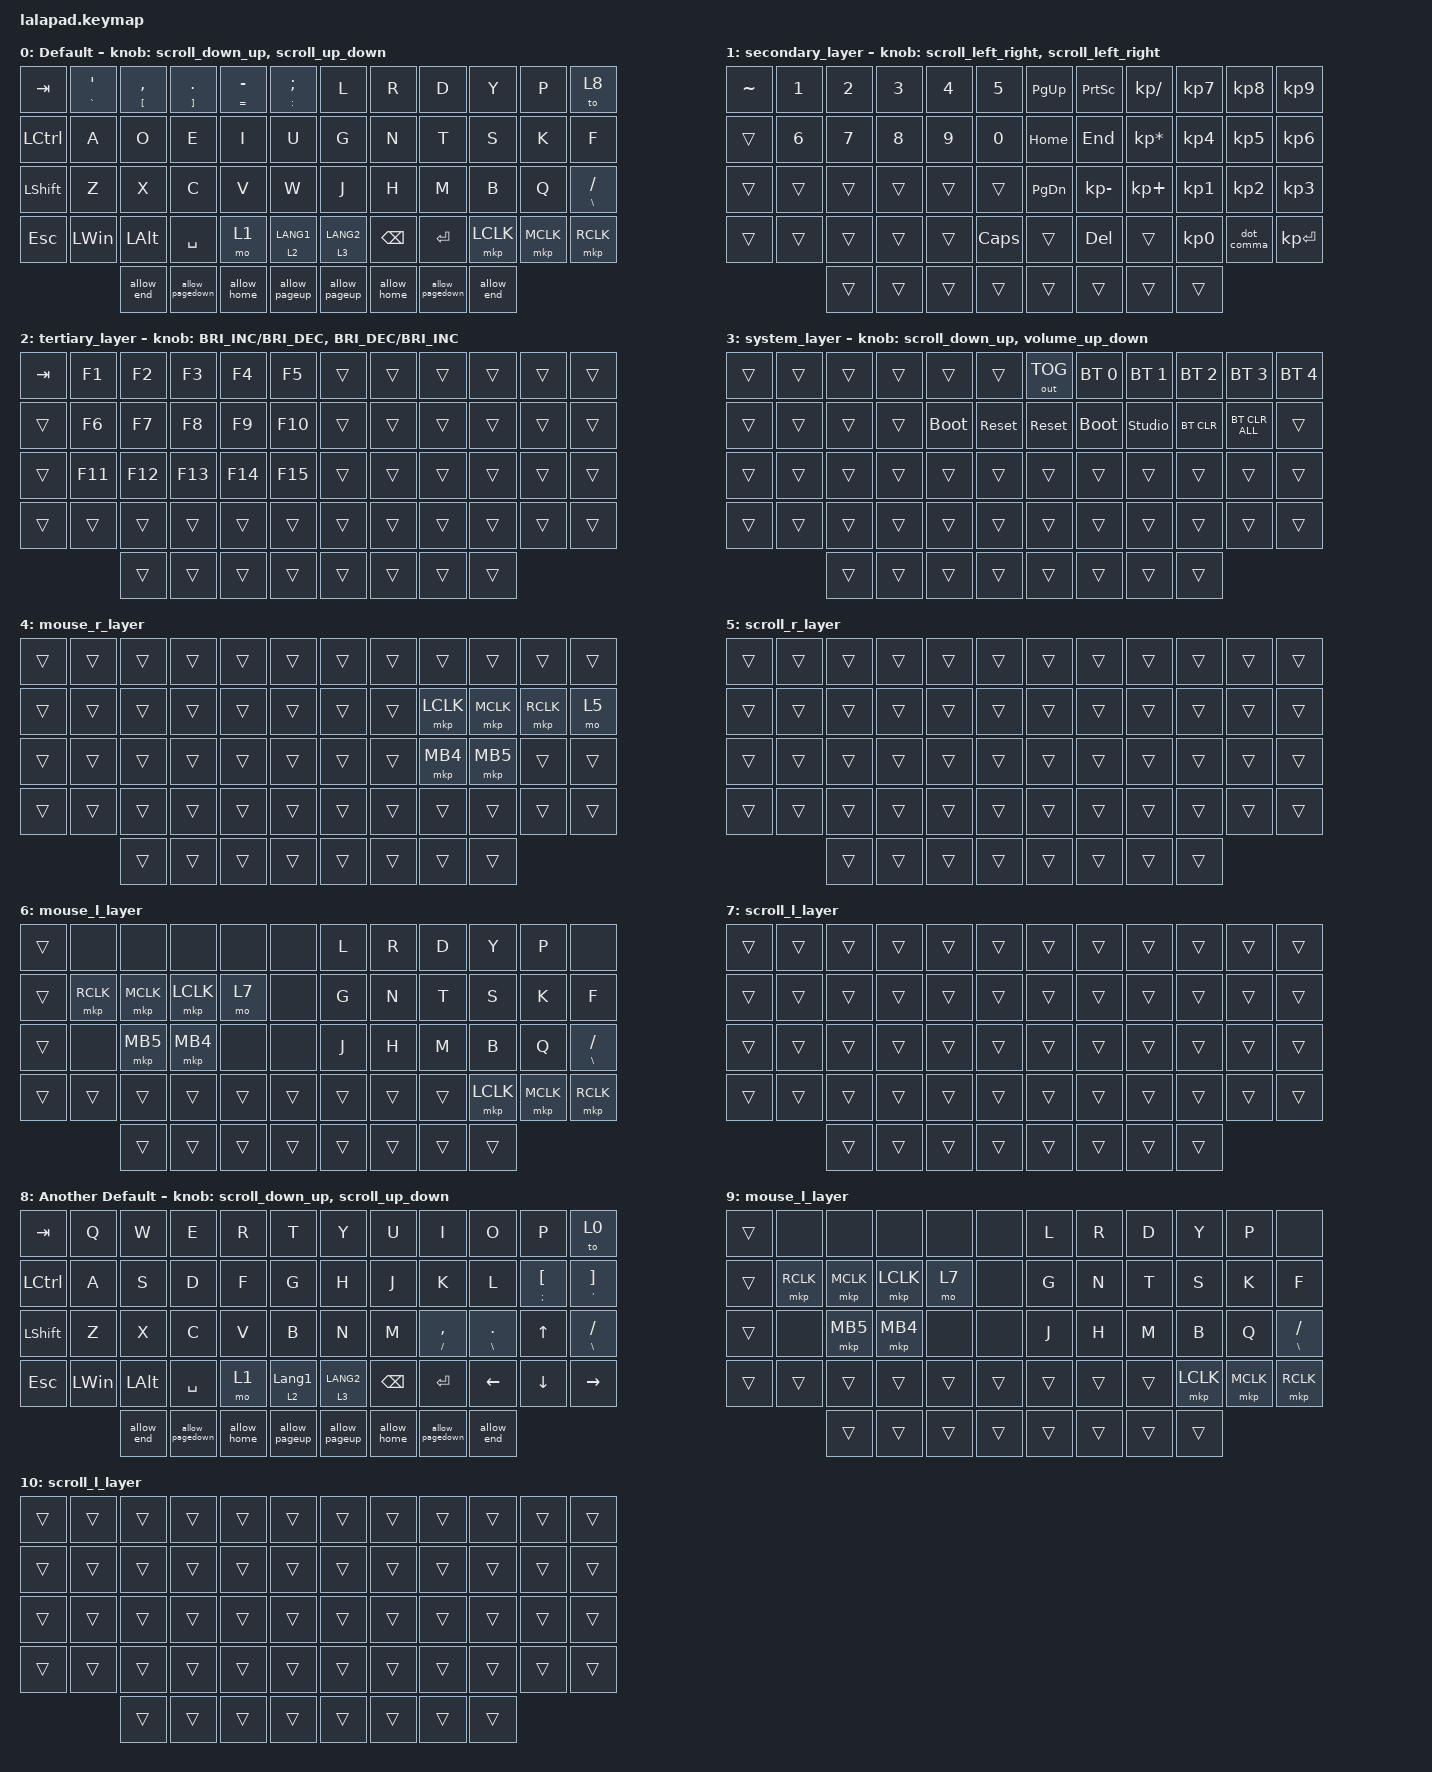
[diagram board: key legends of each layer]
#include <input/processors.dtsi>
#include <behaviors.dtsi>
#include <dt-bindings/zmk/bt.h>
#include <dt-bindings/zmk/keys.h>
#include <dt-bindings/zmk/outputs.h>
#include <dt-bindings/zmk/pointing.h>

#define DEFAULT_LAYER   0
#define SECONDARY_LAYER 1
#define TERTIARY_LAYER  2
#define SYSTEM_LAYER    3
#define MOUSE_R_LAYER   4
#define SCROLL_R_LAYER  5
#define MOUSE_L_LAYER   6
#define SCROLL_L_LAYER  7

// Mouse Scroll Value

#define ZMK_POINTING_DEFAULT_SCRL_VAL 100

// cirque trackpad input&layer control

&glidepoint_listener_R {
    tomisuke_mode_r {
        layers = <DEFAULT_LAYER>;
        input-processors =
            <&zip_xy_transform (INPUT_TRANSFORM_XY_SWAP | INPUT_TRANSFORM_X_INVERT | INPUT_TRANSFORM_Y_INVERT)>,
            <&zip_xy_scaler 3 2>,
            <&zip_temp_layer MOUSE_R_LAYER 500>;
    };

    qwerty_mode_r {
        layers = <8>; /* QWERTY_LAYER */
        input-processors =
            <&zip_xy_transform (INPUT_TRANSFORM_XY_SWAP | INPUT_TRANSFORM_X_INVERT | INPUT_TRANSFORM_Y_INVERT)>,
            <&zip_xy_scaler 3 2>,
            <&zip_temp_layer 9 500>;
 /* MOUSE_LQ */
    };

    lowspeedmode {
        layers = <SECONDARY_LAYER>;
        input-processors =
            <&zip_xy_transform (INPUT_TRANSFORM_XY_SWAP | INPUT_TRANSFORM_X_INVERT | INPUT_TRANSFORM_Y_INVERT)>,
            <&zip_xy_scaler 3 5>,
            <&zip_temp_layer MOUSE_R_LAYER 500>;
    };

    scroller {
        layers = <SCROLL_R_LAYER>;
        input-processors =
            <&zip_xy_to_scroll_mapper>,
            <&zip_scroll_transform (INPUT_TRANSFORM_XY_SWAP | INPUT_TRANSFORM_Y_INVERT)>,
            <&zip_scroll_scaler 1 8>;
    };
};

&glidepoint_listener_L {
    tomisuke_mode_l {
        layers = <DEFAULT_LAYER>;
        input-processors =
            <&zip_xy_transform (INPUT_TRANSFORM_XY_SWAP | INPUT_TRANSFORM_X_INVERT | INPUT_TRANSFORM_Y_INVERT)>,
            <&zip_xy_scaler 3 2>,
            <&zip_temp_layer MOUSE_L_LAYER 500>;
    };

    qwerty_mode_l {
        layers = <8>; /* QWERTY_LAYER */
        input-processors =
            <&zip_xy_transform (INPUT_TRANSFORM_XY_SWAP | INPUT_TRANSFORM_X_INVERT | INPUT_TRANSFORM_Y_INVERT)>,
            <&zip_xy_scaler 3 2>,
            <&zip_temp_layer 9 500>;
 /* MOUSE_LQ */
    };

    lowspeedmode {
        layers = <SECONDARY_LAYER>;
        input-processors =
            <&zip_xy_transform (INPUT_TRANSFORM_XY_SWAP | INPUT_TRANSFORM_X_INVERT | INPUT_TRANSFORM_Y_INVERT)>,
            <&zip_xy_scaler 3 4>,
            <&zip_temp_layer MOUSE_L_LAYER 500>;
    };

    scroller {
        layers = <SCROLL_L_LAYER>;
        input-processors =
            <&zip_xy_to_scroll_mapper>,
            <&zip_scroll_transform (INPUT_TRANSFORM_XY_SWAP | INPUT_TRANSFORM_Y_INVERT)>,
            <&zip_scroll_scaler 1 6>;
    };
};

/ {
    behaviors {
        // Encoder to Mouse Scroll

        scroll_up_down: sensor_scroll_up_down {
            compatible = "zmk,behavior-sensor-rotate";
            #sensor-binding-cells = <0>;
            bindings = <&msc SCRL_UP>, <&msc SCRL_DOWN>;

            tap-ms = <20>;
            label = "SCROLL_UP_DOWN";
        };

        scroll_down_up: sensor_scroll_down_up {
            compatible = "zmk,behavior-sensor-rotate";
            #sensor-binding-cells = <0>;
            bindings = <&msc SCRL_DOWN>, <&msc SCRL_UP>;

            tap-ms = <20>;
            label = "SCROLL_DOWN_UP";
        };

        scroll_left_right: sensor_scroll_left_right {
            compatible = "zmk,behavior-sensor-rotate";
            #sensor-binding-cells = <0>;
            bindings = <&msc SCRL_LEFT>, <&msc SCRL_RIGHT>;

            tap-ms = <20>;
            label = "SCROLL_LEFT_RIGHT";
        };

        scroll_right_left: sensor_scroll_right_left {
            compatible = "zmk,behavior-sensor-rotate";
            #sensor-binding-cells = <0>;
            bindings = <&msc SCRL_RIGHT>, <&msc SCRL_LEFT>;

            tap-ms = <20>;
            label = "SCROLL_RIGHT_LEFT";
        };

        volume_up_down: sensor_volume_up_down {
            compatible = "zmk,behavior-sensor-rotate";
            #sensor-binding-cells = <0>;
            bindings = <&kp C_VOLUME_UP>, <&kp C_VOLUME_DOWN>;

            tap-ms = <20>;
            label = "VOLUME_UP_DOWN";
        };

        dot_comma: dot_comma {
            compatible = "zmk,behavior-mod-morph";
            #binding-cells = <0>;
            bindings = <&kp KP_DOT>, <&kp COMMA>;

            mods = <(MOD_LSFT|MOD_RSFT)>;
            label = "DOT_COMMA";
        };

        pls_minus: pls_minus {
            compatible = "zmk,behavior-mod-morph";
            #binding-cells = <0>;
            bindings = <&kp PLUS>, <&kp MINUS>;

            mods = <(MOD_LSFT|MOD_RSFT)>;
            label = "PLS_MINUS";
        };

        allow_pageup: allow_pageup {
            compatible = "zmk,behavior-mod-morph";
            #binding-cells = <0>;
            bindings = <&kp UP>, <&kp PAGE_UP>;

            mods = <(MOD_LCTL|MOD_RCTL)>;
            label = "ALLOW_PAGEUP";
        };

        allow_pagedown: allow_pagedown {
            compatible = "zmk,behavior-mod-morph";
            #binding-cells = <0>;
            bindings = <&kp DOWN>, <&kp PAGE_DOWN>;

            mods = <(MOD_LCTL|MOD_RCTL)>;
            label = "ALLOW_PAGEDOWN";
        };

        allow_home: allow_home {
            compatible = "zmk,behavior-mod-morph";
            #binding-cells = <0>;
            bindings = <&kp LEFT>, <&kp HOME>;

            mods = <(MOD_LCTL|MOD_RCTL)>;
            label = "ALLOW_HOME";
        };

        allow_end: allow_end {
            compatible = "zmk,behavior-mod-morph";
            #binding-cells = <0>;
            bindings = <&kp RIGHT>, <&kp END>;

            mods = <(MOD_LCTL|MOD_RCTL)>;
            label = "ALLOW_END";
        };

        mt2: mod_tap2 {
            compatible = "zmk,behavior-hold-tap";
            #binding-cells = <2>;
            flavor = "tap-preferred";
            tapping-term-ms = <200>;
            quick-tap-ms = <200>;
            require-prior-idle-ms = <125>;
            bindings = <&kp>, <&kp>;
        };
    };

    keymap {
        compatible = "zmk,keymap";

        TOMISUKE_LAYER {
            display-name = "Default";
            sensor-bindings = <&scroll_down_up>, <&scroll_up_down>;

            bindings = <
&kp TAB    &mt2 GRAVE SQT  &mt2 LBKT COMMA  &mt2 RBKT PERIOD  &mt2 EQUAL MINUS  &mt2 COLON SEMICOLON  &kp L          &kp R          &kp D            &kp Y       &kp P      &to 8
&kp LCTRL  &kp A           &kp O            &kp E             &kp I             &kp U                 &kp G          &kp N          &kp T            &kp S       &kp K      &kp F
&kp LSHFT  &kp Z           &kp X            &kp C             &kp V             &kp W                 &kp J          &kp H          &kp M            &kp B       &kp Q      &mt2 BSLH SLASH
&kp ESC    &kp LEFT_WIN    &kp LEFT_ALT     &kp SPACE         &mo 1             &lt 2 LANG1           &lt 3 LANG2    &kp BACKSPACE  &kp RET          &mkp LCLK   &mkp MCLK  &mkp RCLK
                           &allow_end       &allow_pagedown   &allow_home       &allow_pageup         &allow_pageup  &allow_home    &allow_pagedown  &allow_end
            >;
        };

        SECONDARY_LAYER {
            display-name = "secondary_layer";
            sensor-bindings = <&scroll_left_right>, <&scroll_left_right>;

            bindings = <
&kp TILDE  &kp NUMBER_1  &kp NUMBER_2  &kp NUMBER_3  &kp NUMBER_4  &kp NUMBER_5  &kp PAGE_UP    &kp PRINTSCREEN  &kp KP_SLASH     &kp KP_NUMBER_7  &kp KP_NUMBER_8  &kp KP_NUMBER_9
&trans     &kp NUMBER_6  &kp NUMBER_7  &kp NUMBER_8  &kp NUMBER_9  &kp NUMBER_0  &kp HOME       &kp END          &kp KP_ASTERISK  &kp KP_NUMBER_4  &kp KP_NUMBER_5  &kp KP_NUMBER_6
&trans     &trans        &trans        &trans        &trans        &trans        &kp PAGE_DOWN  &kp KP_MINUS     &kp KP_PLUS      &kp KP_NUMBER_1  &kp KP_NUMBER_2  &kp KP_NUMBER_3
&trans     &trans        &trans        &trans        &trans        &kp CAPS      &trans         &kp DELETE       &trans           &kp KP_NUMBER_0  &dot_comma       &kp KP_ENTER
                         &trans        &trans        &trans        &trans        &trans         &trans           &trans           &trans
            >;
        };

        TERTIARY_LAYER {
            display-name = "tertiary_layer";
            bindings = <
&kp TAB  &kp F1   &kp F2   &kp F3   &kp F4   &kp F5   &trans  &trans  &trans  &trans  &trans  &trans
&trans   &kp F6   &kp F7   &kp F8   &kp F9   &kp F10  &trans  &trans  &trans  &trans  &trans  &trans
&trans   &kp F11  &kp F12  &kp F13  &kp F14  &kp F15  &trans  &trans  &trans  &trans  &trans  &trans
&trans   &trans   &trans   &trans   &trans   &trans   &trans  &trans  &trans  &trans  &trans  &trans
                  &trans   &trans   &trans   &trans   &trans  &trans  &trans  &trans
            >;

            sensor-bindings =
                <&inc_dec_kp C_BRIGHTNESS_INC C_BRIGHTNESS_DEC>,
                <&inc_dec_kp C_BRIGHTNESS_DEC C_BRIGHTNESS_INC>;
        };

        SYSTEM_LAYER {
            display-name = "system_layer";
            sensor-bindings = <&scroll_down_up>, <&volume_up_down>;

            bindings = <
&trans  &trans  &trans  &trans  &trans       &trans      &out OUT_TOG  &bt BT_SEL 0  &bt BT_SEL 1    &bt BT_SEL 2  &bt BT_SEL 3    &bt BT_SEL 4
&trans  &trans  &trans  &trans  &bootloader  &sys_reset  &sys_reset    &bootloader   &studio_unlock  &bt BT_CLR    &bt BT_CLR_ALL  &trans
&trans  &trans  &trans  &trans  &trans       &trans      &trans        &trans        &trans          &trans        &trans          &trans
&trans  &trans  &trans  &trans  &trans       &trans      &trans        &trans        &trans          &trans        &trans          &trans
                &trans  &trans  &trans       &trans      &trans        &trans        &trans          &trans
            >;
        };

        MOUSE_R_LAYER {
            display-name = "mouse_r_layer";
            bindings = <
&trans  &trans  &trans  &trans  &trans  &trans  &trans  &trans  &trans     &trans     &trans     &trans
&trans  &trans  &trans  &trans  &trans  &trans  &trans  &trans  &mkp LCLK  &mkp MCLK  &mkp RCLK  &mo 5
&trans  &trans  &trans  &trans  &trans  &trans  &trans  &trans  &mkp MB4   &mkp MB5   &trans     &trans
&trans  &trans  &trans  &trans  &trans  &trans  &trans  &trans  &trans     &trans     &trans     &trans
                &trans  &trans  &trans  &trans  &trans  &trans  &trans     &trans
            >;
        };

        SCROLL_R_LAYER {
            display-name = "scroll_r_layer";
            bindings = <
&trans  &trans  &trans  &trans  &trans  &trans  &trans  &trans  &trans  &trans  &trans  &trans
&trans  &trans  &trans  &trans  &trans  &trans  &trans  &trans  &trans  &trans  &trans  &trans
&trans  &trans  &trans  &trans  &trans  &trans  &trans  &trans  &trans  &trans  &trans  &trans
&trans  &trans  &trans  &trans  &trans  &trans  &trans  &trans  &trans  &trans  &trans  &trans
                &trans  &trans  &trans  &trans  &trans  &trans  &trans  &trans
            >;
        };

        MOUSE_L_LAYER {
            display-name = "mouse_l_layer";
            bindings = <
&trans  &none      &none      &none      &none   &none   &kp L   &kp R   &kp D   &kp Y      &kp P      &none
&trans  &mkp RCLK  &mkp MCLK  &mkp LCLK  &mo 7   &none   &kp G   &kp N   &kp T   &kp S      &kp K      &kp F
&trans  &none      &mkp MB5   &mkp MB4   &none   &none   &kp J   &kp H   &kp M   &kp B      &kp Q      &mt2 BACKSLASH SLASH
&trans  &trans     &trans     &trans     &trans  &trans  &trans  &trans  &trans  &mkp LCLK  &mkp MCLK  &mkp RCLK
                   &trans     &trans     &trans  &trans  &trans  &trans  &trans  &trans
            >;
        };

        SCROLL_L_LAYER {
            display-name = "scroll_l_layer";
            bindings = <
&trans  &trans  &trans  &trans  &trans  &trans  &trans  &trans  &trans  &trans  &trans  &trans
&trans  &trans  &trans  &trans  &trans  &trans  &trans  &trans  &trans  &trans  &trans  &trans
&trans  &trans  &trans  &trans  &trans  &trans  &trans  &trans  &trans  &trans  &trans  &trans
&trans  &trans  &trans  &trans  &trans  &trans  &trans  &trans  &trans  &trans  &trans  &trans
                &trans  &trans  &trans  &trans  &trans  &trans  &trans  &trans
            >;
        };

        QWERTY_LAYER {
            display-name = "Another Default";
            bindings = <
&kp TAB    &kp Q         &kp W         &kp E            &kp R        &kp T             &kp Y          &kp U          &kp I             &kp O                  &kp P           &to 0
&kp LCTRL  &kp A         &kp S         &kp D            &kp F        &kp G             &kp H          &kp J          &kp K             &kp L                  &mt2 SEMI LBKT  &mt2 SQT RBKT
&kp LSHFT  &kp Z         &kp X         &kp C            &kp V        &kp B             &kp N          &kp M          &mt2 SLASH COMMA  &mt2 BACKSLASH PERIOD  &kp UP          &mt2 BSLH SLASH
&kp ESC    &kp LEFT_WIN  &kp LEFT_ALT  &kp SPACE        &mo 1        &lt 2 LANGUAGE_1  &lt 3 LANG2    &kp BACKSPACE  &kp RET           &kp LEFT               &kp DOWN        &kp RIGHT
                         &allow_end    &allow_pagedown  &allow_home  &allow_pageup     &allow_pageup  &allow_home    &allow_pagedown   &allow_end
            >;

            sensor-bindings = <&scroll_down_up>, <&scroll_up_down>;
        };

        MOUSE_LQ {
            display-name = "mouse_l_layer";
            bindings = <
&trans  &none      &none      &none      &none   &none   &kp L   &kp R   &kp D   &kp Y      &kp P      &none
&trans  &mkp RCLK  &mkp MCLK  &mkp LCLK  &mo 7   &none   &kp G   &kp N   &kp T   &kp S      &kp K      &kp F
&trans  &none      &mkp MB5   &mkp MB4   &none   &none   &kp J   &kp H   &kp M   &kp B      &kp Q      &mt2 BACKSLASH SLASH
&trans  &trans     &trans     &trans     &trans  &trans  &trans  &trans  &trans  &mkp LCLK  &mkp MCLK  &mkp RCLK
                   &trans     &trans     &trans  &trans  &trans  &trans  &trans  &trans
            >;
        };

        SCROLL_LQ {
            display-name = "scroll_l_layer";
            bindings = <
&trans  &trans  &trans  &trans  &trans  &trans  &trans  &trans  &trans  &trans  &trans  &trans
&trans  &trans  &trans  &trans  &trans  &trans  &trans  &trans  &trans  &trans  &trans  &trans
&trans  &trans  &trans  &trans  &trans  &trans  &trans  &trans  &trans  &trans  &trans  &trans
&trans  &trans  &trans  &trans  &trans  &trans  &trans  &trans  &trans  &trans  &trans  &trans
                &trans  &trans  &trans  &trans  &trans  &trans  &trans  &trans
            >;
        };
    };
};
